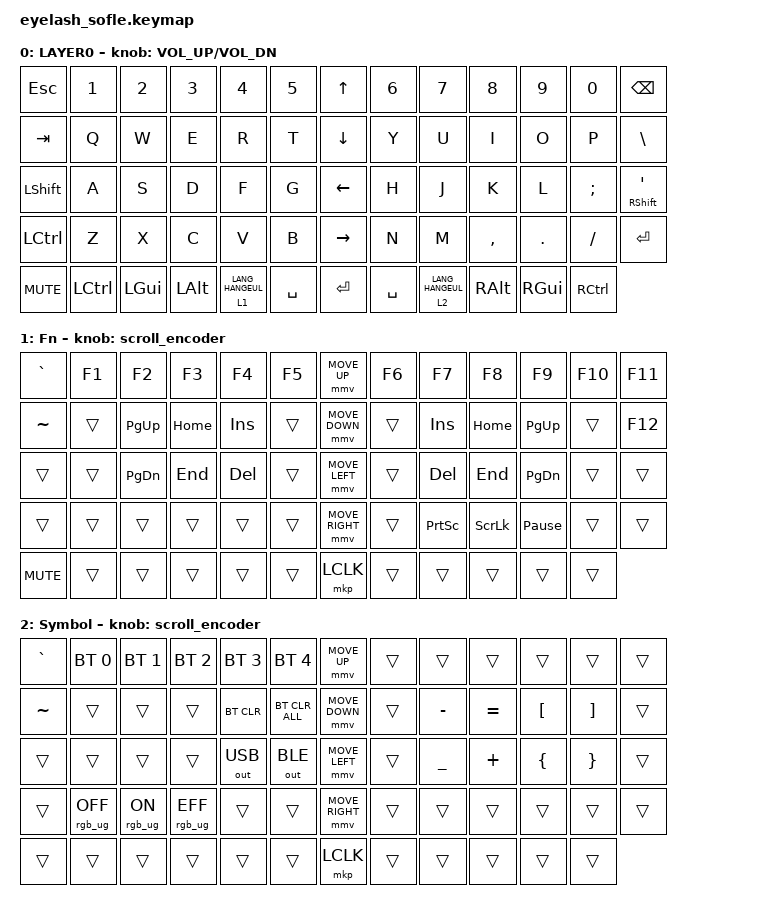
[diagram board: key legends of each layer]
#define ZMK_POINTING_DEFAULT_MOVE_VAL 1200  // 600
#define ZMK_POINTING_DEFAULT_SCRL_VAL 25   // 10

#include <input/processors.dtsi>
#include <zephyr/dt-bindings/input/input-event-codes.h>
#include <behaviors.dtsi>
#include <dt-bindings/zmk/bt.h>
#include <dt-bindings/zmk/keys.h>
#include <dt-bindings/zmk/outputs.h>
#include <dt-bindings/zmk/pointing.h>
#include <dt-bindings/zmk/rgb.h>

&mmv_input_listener { input-processors = <&zip_xy_scaler 2 1>; };

&msc_input_listener { input-processors = <&zip_scroll_scaler 2 1>; };

&msc {
    acceleration-exponent = <1>;      // 0
    time-to-max-speed-ms = <100>;       // 300
    delay-ms = <0>;                   // 0
};

&mmv {
    time-to-max-speed-ms = <500>;
    acceleration-exponent = <1>;
    trigger-period-ms = <16>;
};

/ {
    scroll_encoder: scroll_encoder {
        compatible = "zmk,behavior-sensor-rotate";
        #sensor-binding-cells = <0>;
        bindings = <&msc SCRL_DOWN>, <&msc SCRL_UP>;

        tap-ms = <100>;
    };

    ht0: ht0 {
        compatible = "zmk,behavior-hold-tap";
        label = "HT0";
        bindings = <&kp>, <&kp>;

        #binding-cells = <2>;
        tapping-term-ms = <200>;
    };

    behaviors {
    };

    keymap {
        compatible = "zmk,keymap";

        layer0 {
            bindings = <
&kp ESC           &kp N1     &kp N2        &kp N3        &kp N4              &kp N5       &kp UP_ARROW     &kp N6     &kp N7              &kp N8         &kp N9         &kp N0             &kp BACKSPACE
&kp TAB           &kp Q      &kp W         &kp E         &kp R               &kp T        &kp DOWN_ARROW   &kp Y      &kp U               &kp I          &kp O          &kp P              &kp BSLH
&kp LEFT_SHIFT    &kp A      &kp S         &kp D         &kp F               &kp G        &kp LEFT_ARROW   &kp H      &kp J               &kp K          &kp L          &kp SEMI           &ht0 RIGHT_SHIFT APOS
&kp LEFT_CONTROL  &kp Z      &kp X         &kp C         &kp V               &kp B        &kp RIGHT_ARROW  &kp N      &kp M               &kp COMMA      &kp DOT        &kp FSLH           &kp ENTER
&kp C_MUTE        &kp LCTRL  &kp LEFT_GUI  &kp LEFT_ALT  &lt 1 LANG_HANGEUL  &kp SPACE    &kp ENTER        &kp SPACE  &lt 2 LANG_HANGEUL  &kp RIGHT_ALT  &kp RIGHT_GUI  &kp RIGHT_CONTROL
            >;

            sensor-bindings = <&inc_dec_kp C_VOLUME_UP C_VOL_DN>;
            display-name = "LAYER0";
        };

        layer1 {
            bindings = <
&kp GRAVE   &kp F1  &kp F2         &kp F3    &kp F4      &kp F5    &mmv MOVE_UP     &kp F6  &kp F7           &kp F8          &kp F9           &kp F10  &kp F11
&kp TILDE   &trans  &kp PAGE_UP    &kp HOME  &kp INSERT  &trans    &mmv MOVE_DOWN   &trans  &kp INSERT       &kp HOME        &kp PAGE_UP      &trans   &kp F12
&trans      &trans  &kp PAGE_DOWN  &kp END   &kp DELETE  &trans    &mmv MOVE_LEFT   &trans  &kp DELETE       &kp END         &kp PAGE_DOWN    &trans   &trans
&trans      &trans  &trans         &trans    &trans      &trans    &mmv MOVE_RIGHT  &trans  &kp PRINTSCREEN  &kp SCROLLLOCK  &kp PAUSE_BREAK  &trans   &trans
&kp C_MUTE  &trans  &trans         &trans    &trans      &trans    &mkp LCLK        &trans  &trans           &trans          &trans           &trans
            >;

            display-name = "Fn";
            sensor-bindings = <&scroll_encoder>;
        };

        layer2 {
            bindings = <
&kp GRAVE  &bt BT_SEL 0     &bt BT_SEL 1    &bt BT_SEL 2     &bt BT_SEL 3  &bt BT_SEL 4      &mmv MOVE_UP     &trans  &trans          &trans     &trans            &trans             &trans
&kp TILDE  &trans           &trans          &trans           &bt BT_CLR    &bt BT_CLR_ALL    &mmv MOVE_DOWN   &trans  &kp MINUS       &kp EQUAL  &kp LEFT_BRACKET  &kp RIGHT_BRACKET  &trans
&trans     &trans           &trans          &trans           &out OUT_USB  &out OUT_BLE      &mmv MOVE_LEFT   &trans  &kp UNDERSCORE  &kp PLUS   &kp LEFT_BRACE    &kp RIGHT_BRACE    &trans
&trans     &rgb_ug RGB_OFF  &rgb_ug RGB_ON  &rgb_ug RGB_EFF  &trans        &trans            &mmv MOVE_RIGHT  &trans  &trans          &trans     &trans            &trans             &trans
&trans     &trans           &trans          &trans           &trans        &trans            &mkp LCLK        &trans  &trans          &trans     &trans            &trans
            >;

            sensor-bindings = <&scroll_encoder>;
            label = "Symbol";
        };
    };
};
